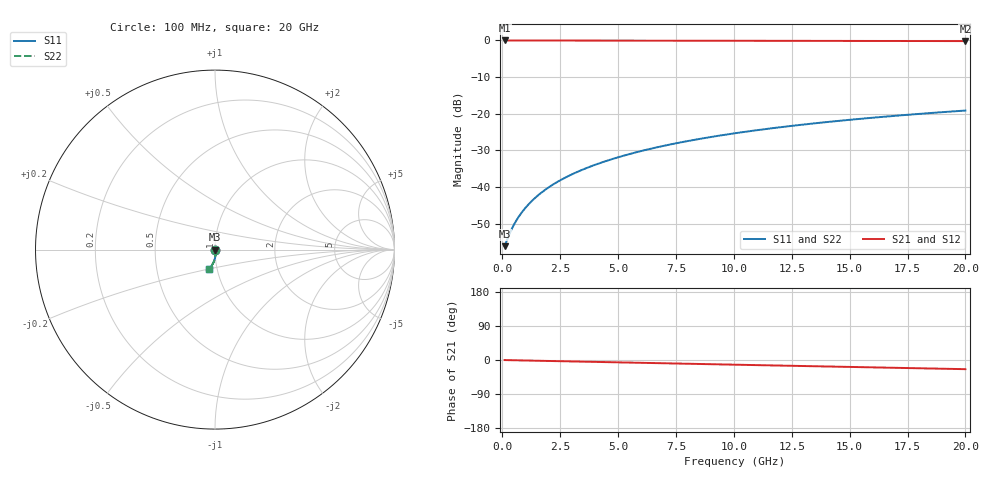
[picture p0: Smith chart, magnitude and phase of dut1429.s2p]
! Touchstone file exported from HFSS 2026.1.0
!  File:  C:/ffzhzh/LocalFiles/Ansys_Project_Files/temp_train_BSMRDL_1429_1783180356_43440.aedt
!  Generated:  11:53:37 PM Jul  4, 2026
!  Design:  BSMRDL
!  Project:  temp_train_BSMRDL_1429_1783180356_43440
! Variables:
!  h_bsmrdl = 3.99um
!  h_ox = 20um
!  h_rdl = 5um
!  h_sub = 80um
!  h_tmrdl = 5um
!  h_tsv = 80um
!  h_via = 3um
!  l_bsmrdl = 408.73um
!  l_sub = 808.73um
!  l_tmrdl = 200um
!  m_sub = 200um
!  pitch = 31.7um
!  r_tsv = 6um
!  s_tmrdl = 10um
!  w_bsmrdl = 29.31um
!  w_sub = 500um
!  w_tmrdl = 12um
!  x_tsv_center1 = 206um
!  x_tsv_center2 = 644.04um
!  x_tsv_center3 = 856.04um
!  x_tsv_center4 = 1294.08um
!  x_tsv_center5 = 1506.08um
!  x_tsv_center6 = 1944.12um
# GHz S MA R 50.000000
! Terminal data exported
! Port[1] = BSM_RDL1_1_T1
! Port[2] = BSM_RDL1_1_T2
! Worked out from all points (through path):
!   200 points, 100 MHz to 20 GHz, reference 50 ohm
!   highest |S21| = -0.01 dB at 100 MHz (marker M1); lowest = -0.2 dB at 20 GHz (marker M2)
!   group delay of S21, straight-line fit = 3.34 ps
!   lowest |S11| = -56.1 dB at 100 MHz (marker M3), VSWR 1.00, Z = 50.2 + j0.00112 ohm
!   |S11| at or under -10 dB: start of sweep to end of sweep
!   |S22| runs from -56.1 to -19.1 dB; largest |S21 - S12| = 6e-15
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0.1  0.001566 0.4  0.9984 -0.2  0.9984 -0.2  0.001566 0.4
! Gamma 0 0 0 0
! Port Impedance 50 0 50 0
0.3  0.00226 -12.6  0.9978 -0.4  0.9978 -0.4  0.00226 -12.6
0.4  0.002657 -21.1  0.9975 -0.6  0.9975 -0.6  0.002657 -21.1
0.6  0.003477 -35.3  0.9971 -0.8  0.9971 -0.8  0.003477 -35.3
0.7  0.0039 -40.8  0.997 -0.9  0.997 -0.9  0.0039 -40.8
0.9  0.00477 -49.4  0.9968 -1.2  0.9968 -1.2  0.00477 -49.4
1.1  0.005666 -55.6  0.9967 -1.4  0.9967 -1.4  0.005667 -55.6
1.3  0.006584 -60.2  0.9965 -1.7  0.9965 -1.7  0.006585 -60.2
1.7  0.008466 -66.5  0.9963 -2.2  0.9963 -2.2  0.008468 -66.5
2.2  0.01089 -71.4  0.996 -2.8  0.996 -2.8  0.01089 -71.4
2.8  0.01388 -75.2  0.9955 -3.6  0.9955 -3.6  0.01388 -75.2
3.5  0.01748 -78.1  0.9949 -4.4  0.9949 -4.4  0.01748 -78.1
4.2  0.02117 -80.3  0.9943 -5.3  0.9943 -5.3  0.02118 -80.3
5  0.02551 -82.4  0.9935 -6.3  0.9935 -6.3  0.02551 -82.3
5.9  0.03049 -84.3  0.9926 -7.4  0.9926 -7.4  0.0305 -84.3
6.8  0.03556 -86.1  0.9917 -8.5  0.9917 -8.5  0.03557 -86.1
8.3  0.04414 -88.9  0.9903 -10.3  0.9903 -10.3  0.04415 -88.9
10.1  0.05453 -92.0  0.9885 -12.4  0.9885 -12.4  0.05454 -91.9
11.7  0.06378 -94.6  0.987 -14.4  0.987 -14.4  0.06379 -94.5
13.4  0.07356 -97.2  0.9853 -16.4  0.9853 -16.4  0.07358 -97.2
16.7  0.09232 -102.1  0.9821 -20.3  0.9821 -20.3  0.09234 -102.0
20  0.1106 -106.7  0.9786 -24.2  0.9786 -24.2  0.1107 -106.5
